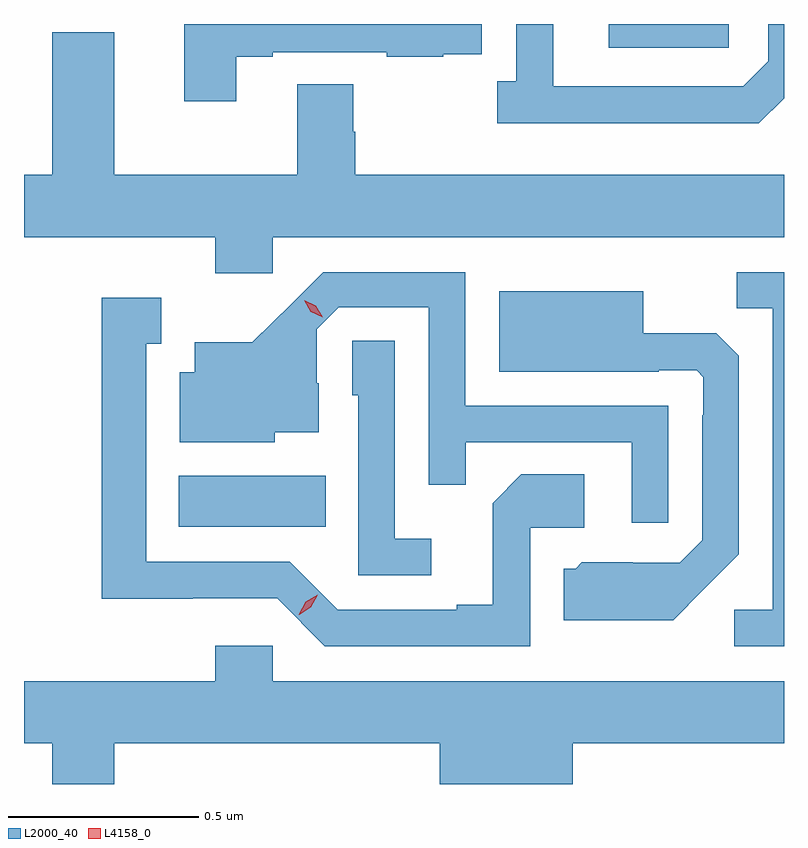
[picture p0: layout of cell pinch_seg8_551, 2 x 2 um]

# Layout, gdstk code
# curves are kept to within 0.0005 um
import gdstk
lib = gdstk.Library(unit=1e-6, precision=1e-09)
def R(c, l, rs):  # rectangles x0, y0, x1, y1
    for r in rs: c.add(gdstk.rectangle(r[:2], r[2:], *l))
def P(c, l, *ps):  # polygons
    for p in ps: c.add(gdstk.Polygon(p, *l))
L2000_40 = (2000, 40)
L4158_0 = (4158, 0)

pinch_seg8_551 = lib.new_cell('pinch_seg8_551')
R(pinch_seg8_551, L2000_40, [(117.389,1121.066,117.776,1121.2), (118.521,1122.327,118.836,1122.389)])
P(pinch_seg8_551, L2000_40, [(118.982,1122.194),(118.982,1122.389),(118.941,1122.389),(118.941,1122.291),(118.875,1122.225),(118.375,1122.225),(118.375,1122.389),(118.278,1122.389),(118.278,1122.238),(118.227,1122.238),(118.227,1122.128),(118.916,1122.128)],
  [(117.541,1122.303),(117.637,1122.303),(117.637,1122.315),(117.937,1122.315),(117.937,1122.303),(118.085,1122.303),(118.085,1122.309),(118.187,1122.309),(118.187,1122.389),(117.404,1122.389),(117.404,1122.186),(117.541,1122.186)],
  [(117.636,1121.828),(118.982,1121.828),(118.982,1121.992),(117.854,1121.992),(117.854,1122.105),(117.849,1122.105),(117.849,1122.23),(117.701,1122.23),(117.701,1121.992),(117.22,1121.992),(117.22,1122.367),(117.056,1122.367),(117.056,1121.992),(116.982,1121.992),(116.982,1121.828),(117.485,1121.828),(117.485,1121.733),(117.636,1121.733)],
  [(118.982,1121.736),(118.858,1121.736),(118.858,1121.641),(118.953,1121.641),(118.953,1120.848),(118.851,1120.848),(118.851,1120.752),(118.982,1120.752)],
  [(118.677,1121.385),(118.143,1121.385),(118.143,1121.736),(117.77,1121.736),(117.583,1121.551),(117.431,1121.551),(117.431,1121.473),(117.392,1121.473),(117.392,1121.288),(117.642,1121.288),(117.642,1121.315),(117.757,1121.315),(117.757,1121.444),(117.753,1121.444),(117.753,1121.586),(117.81,1121.643),(118.047,1121.643),(118.047,1121.176),(118.145,1121.176),(118.145,1121.289),(118.581,1121.289),(118.581,1121.076),(118.677,1121.076)],
  [(118.771,1120.901),(118.863,1120.994),(118.863,1121.516),(118.804,1121.575),(118.612,1121.575),(118.612,1121.686),(118.232,1121.686),(118.232,1121.474),(118.652,1121.474),(118.652,1121.478),(118.752,1121.478),(118.77,1121.46),(118.77,1121.36),(118.767,1121.36),(118.767,1121.031),(118.707,1120.971),(118.584,1120.971),(118.584,1120.972),(118.45,1120.972),(118.434,1120.956),(118.403,1120.956),(118.403,1120.82),(118.691,1120.82)],
  [(118.314,1121.064),(118.456,1121.064),(118.456,1121.204),(118.291,1121.204),(118.215,1121.128),(118.215,1120.861),(118.121,1120.861),(118.121,1120.848),(117.807,1120.848),(117.681,1120.974),(117.304,1120.974),(117.304,1121.547),(117.343,1121.547),(117.343,1121.668),(117.186,1121.668),(117.186,1120.877),(117.426,1120.877),(117.426,1120.878),(117.648,1120.878),(117.774,1120.752),(118.314,1120.752)],
  [(118.054,1121.035),(117.957,1121.035),(117.957,1121.555),(117.846,1121.555),(117.846,1121.412),(117.861,1121.412),(117.861,1120.938),(118.054,1120.938)],
  [(117.22,1120.496),(118.076,1120.496),(118.076,1120.389),(118.426,1120.389),(118.426,1120.496),(118.982,1120.496),(118.982,1120.66),(117.636,1120.66),(117.636,1120.753),(117.485,1120.753),(117.485,1120.66),(116.982,1120.66),(116.982,1120.496),(117.056,1120.496),(117.056,1120.389),(117.22,1120.389)])
P(pinch_seg8_551, L4158_0, [(117.768,1121.617),(117.737,1121.632),(117.719,1121.662),(117.719,1121.662),(117.72,1121.662),(117.75,1121.647),(117.768,1121.617),(117.768,1121.617)],
  [(117.705,1120.835),(117.705,1120.835),(117.723,1120.868),(117.755,1120.887),(117.755,1120.887),(117.755,1120.887),(117.737,1120.854),(117.706,1120.835)])

lib.write_gds('pinch_seg8_551.gds')
